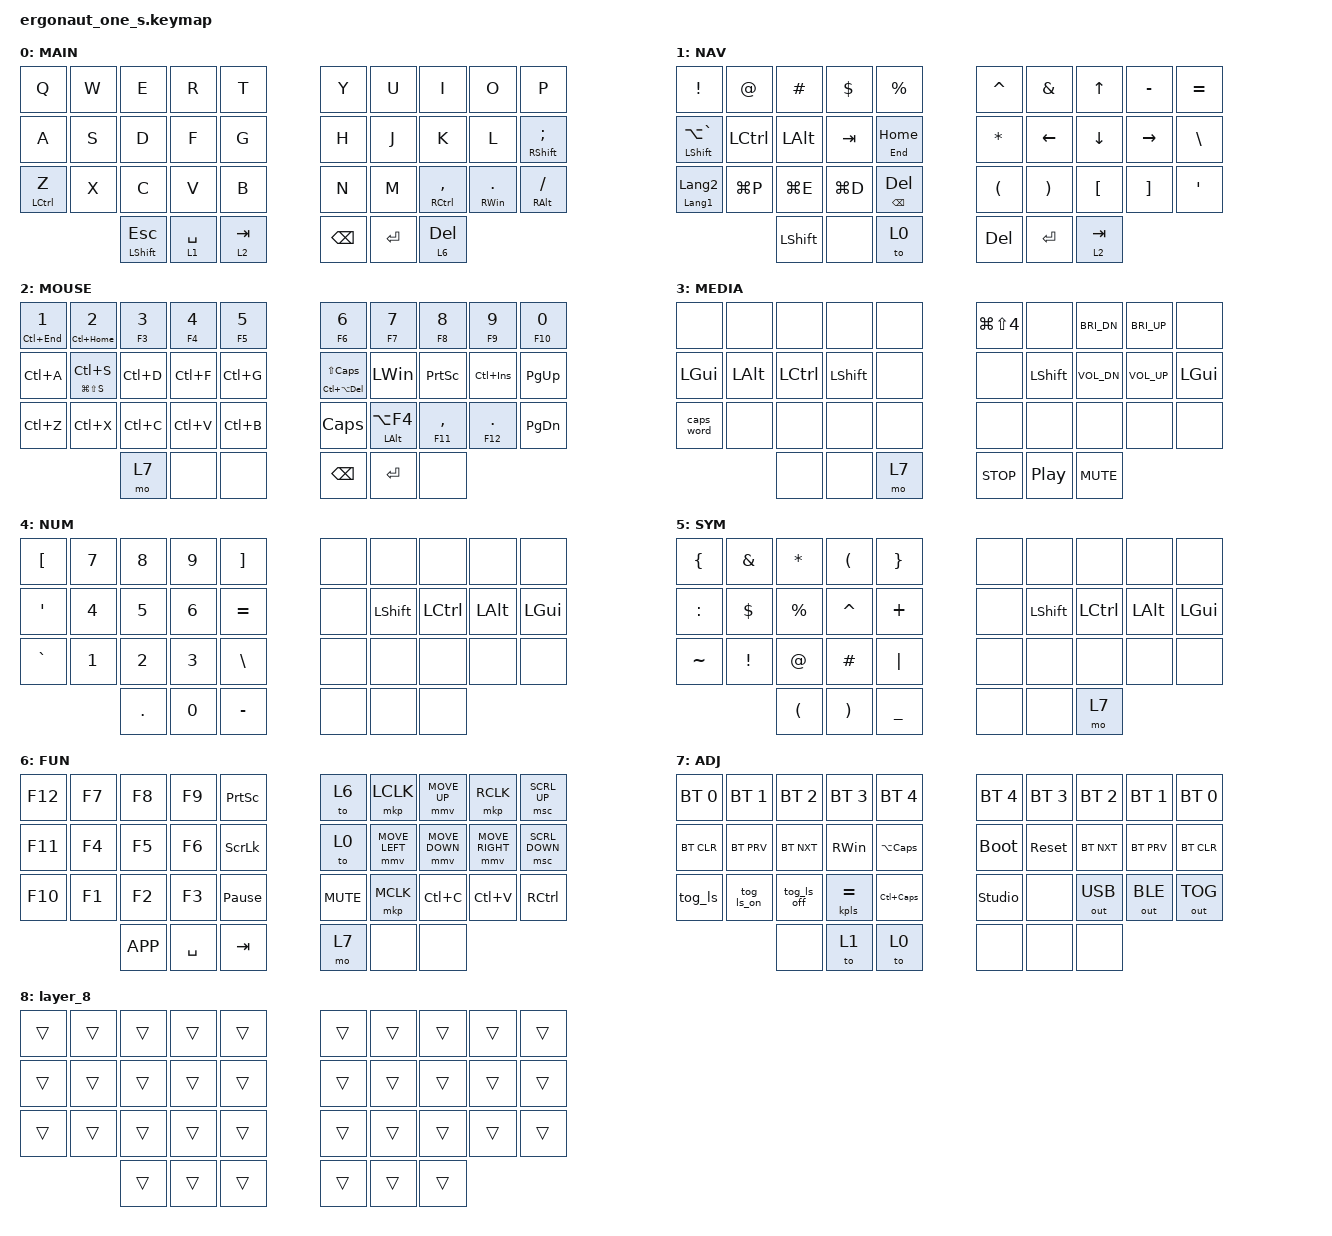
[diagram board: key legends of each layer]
#define ZMK_POINTING_DEFAULT_MOVE_VAL 600
#define ZMK_POINTING_DEFAULT_SCRL_VAL 10

#include <layout_shift_kp_override.dtsi>
#include <behaviors.dtsi>
#include <dt-bindings/zmk/bt.h>
#include <dt-bindings/zmk/keys.h>
#include <dt-bindings/zmk/outputs.h>
#include <dt-bindings/zmk/pointing.h>

#define BASE 0
#define NAV 1
#define MOUSE 2
#define MEDIA 3
#define NUM 4
#define SYM 5
#define FUN 6
#define ADJ 7

/ {
    behaviors {
        hm: homerow_mods {
            compatible = "zmk,behavior-hold-tap";
            label = "HOMEROW_MODS";
            #binding-cells = <2>;
            tapping-term-ms = <220>;
            quick_tap_ms = <0>;
            flavor = "balanced";
            bindings = <&kp>, <&kp>;
        };
    };

    keymap {
        compatible = "zmk,keymap";

        default_layer {
            display-name = "MAIN";
            bindings = <
&kp Q        &kp W  &kp E  &kp R               &kp T        &kp Y      &kp U          &kp I            &kp O                 &kp P
&kp A        &kp S  &kp D  &kp F               &kp G        &kp H      &kp J          &kp K            &kp L                 &hm RIGHT_SHIFT SEMICOLON
&hm LCTRL Z  &kp X  &kp C  &kp V               &kp B        &kp N      &kp M          &hm RCTRL COMMA  &hm RIGHT_WIN PERIOD  &hm RIGHT_ALT SLASH
                           &hm LEFT_SHIFT ESC  &lt 1 SPACE  &lt 2 TAB  &kp BACKSPACE  &kp ENTER        &lt 6 DEL
            >;
        };

        nav_layer {
            display-name = "NAV";
            bindings = <
&kp EXCLAMATION            &kp AT_SIGN       &kp HASH      &kp DOLLAR      &kp PERCENT           &kp CARET             &kp AMPERSAND          &kp UP_ARROW      &kp MINUS          &kp EQUAL
&hm LEFT_SHIFT LA(GRAVE)   &kp LEFT_CONTROL  &kp LEFT_ALT  &kp TAB         &hm END HOME          &kp ASTERISK          &kp LEFT               &kp DOWN          &kp RIGHT          &kp BACKSLASH
&hm LANGUAGE_1 LANGUAGE_2  &kp LG(P)         &kp LG(E)     &kp LG(D)       &hm BACKSPACE DELETE  &kp LEFT_PARENTHESIS  &kp RIGHT_PARENTHESIS  &kp LEFT_BRACKET  &kp RIGHT_BRACKET  &kp SQT
                                                           &kp LEFT_SHIFT  &none                 &to 0                 &kp DEL                &kp ENTER         &lt 2 TAB
            >;
        };

        mouse_layer {
            display-name = "MOUSE";
            bindings = <
&hm LC(END) NUMBER_1  &hm LC(HOME) NUMBER_2  &hm F3 NUMBER_3  &hm F4 NUMBER_4  &hm F5 N5  &hm F6 NUMBER_6           &hm F7 N7            &hm F8 N8        &hm F9 N9       &hm F10 N0
&kp LC(A)             &hm LG(LS(S)) LC(S)    &kp LC(D)        &kp LC(F)        &kp LC(G)  &hm LC(LA(DEL)) LS(CAPS)  &kp LEFT_WIN         &kp PRINTSCREEN  &kp LC(INS)     &kp PAGE_UP
&kp LC(Z)             &kp LC(X)              &kp LC(C)        &kp LC(V)        &kp LC(B)  &kp CAPSLOCK              &hm LEFT_ALT LA(F4)  &hm F11 COMMA    &hm F12 PERIOD  &kp PAGE_DOWN
                                                              &mo 7            &none      &none                     &kp BACKSPACE        &kp ENTER        &none
            >;
        };

        media_layer {
            display-name = "MEDIA";
            bindings = <
&none       &none     &none      &none      &none  &kp LG(LS(N4))  &none       &kp C_BRI_DN  &kp C_BRI_UP  &none
&kp LGUI    &kp LALT  &kp LCTRL  &kp LSHFT  &none  &none           &kp LSHFT   &kp C_VOL_DN  &kp C_VOL_UP  &kp LGUI
&caps_word  &none     &none      &none      &none  &none           &none       &none         &none         &none
                                 &none      &none  &mo 7           &kp C_STOP  &kp C_PP      &kp K_MUTE
            >;
        };

        num_layer {
            display-name = "NUM";
            bindings = <
&kp LBKT   &kp N7  &kp N8  &kp N9   &kp RBKT   &none      &none      &none      &none     &none
&kp SQT    &kp N4  &kp N5  &kp N6   &kp EQUAL  &none      &kp LSHFT  &kp LCTRL  &kp LALT  &kp LGUI
&kp GRAVE  &kp N1  &kp N2  &kp N3   &kp BSLH   &none      &none      &none      &none     &none
                           &kp DOT  &kp N0     &kp MINUS  &none      &none      &none
            >;
        };

        sym_layer {
            display-name = "SYM";
            bindings = <
&kp LBRC   &kp AMPS  &kp STAR   &kp LPAR   &kp RBRC  &none      &none      &none      &none     &none
&kp COLON  &kp DLLR  &kp PRCNT  &kp CARET  &kp PLUS  &none      &kp LSHFT  &kp LCTRL  &kp LALT  &kp LGUI
&kp TILDE  &kp EXCL  &kp AT     &kp HASH   &kp PIPE  &none      &none      &none      &none     &none
                                &kp LPAR   &kp RPAR  &kp UNDER  &none      &none      &mo 7
            >;
        };

        fun_layer {
            display-name = "FUN";
            bindings = <
&kp F12  &kp F7  &kp F8  &kp F9     &kp PSCRN        &to 6       &mkp LCLK       &mmv MOVE_UP    &mkp RCLK        &msc SCRL_UP
&kp F11  &kp F4  &kp F5  &kp F6     &kp SLCK         &to 0       &mmv MOVE_LEFT  &mmv MOVE_DOWN  &mmv MOVE_RIGHT  &msc SCRL_DOWN
&kp F10  &kp F1  &kp F2  &kp F3     &kp PAUSE_BREAK  &kp C_MUTE  &mkp MCLK       &kp LC(C)       &kp LC(V)        &kp RIGHT_CONTROL
                         &kp K_APP  &kp SPACE        &kp TAB     &mo 7           &none           &none
            >;
        };

        adj_layer {
            display-name = "ADJ";
            bindings = <
&bt BT_SEL 0  &bt BT_SEL 1  &bt BT_SEL 2  &bt BT_SEL 3   &bt BT_SEL 4  &bt BT_SEL 4    &bt BT_SEL 3  &bt BT_SEL 2  &bt BT_SEL 1  &bt BT_SEL 0
&bt BT_CLR    &bt BT_PRV    &bt BT_NXT    &kp RIGHT_WIN  &kp LA(CLCK)  &bootloader     &sys_reset    &bt BT_NXT    &bt BT_PRV    &bt BT_CLR
&tog_ls       &tog_ls_on    &tog_ls_off   &kpls EQUAL    &kp LC(CAPS)  &studio_unlock  &none         &out OUT_USB  &out OUT_BLE  &out OUT_TOG
                                          &none          &to 1         &to 0           &none         &none         &none
            >;
        };

        layer_8 {
            bindings = <
&trans  &trans  &trans  &trans  &trans  &trans  &trans  &trans  &trans  &trans
&trans  &trans  &trans  &trans  &trans  &trans  &trans  &trans  &trans  &trans
&trans  &trans  &trans  &trans  &trans  &trans  &trans  &trans  &trans  &trans
                        &trans  &trans  &trans  &trans  &trans  &trans
            >;
        };
    };
};
